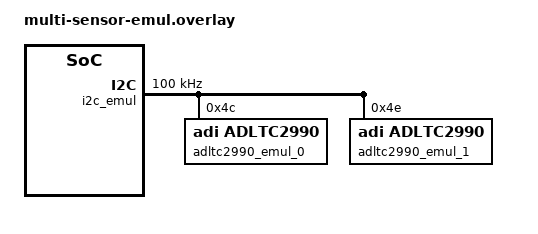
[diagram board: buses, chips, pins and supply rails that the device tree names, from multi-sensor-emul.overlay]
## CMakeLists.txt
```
# Copyright (c) 2025 Analog Devices, Inc.
# SPDX-License-Identifier: MIT

cmake_minimum_required(VERSION 3.20.0)

if(eval_ad4052_ardz IN_LIST SHIELD)
  list(APPEND EXTRA_DTC_OVERLAY_FILE eval_ad4052_ardz.overlay)
endif()

if(eval_adxl362_ardz IN_LIST SHIELD)
  list(APPEND EXTRA_DTC_OVERLAY_FILE eval_adxl362_ardz.overlay)
  list(APPEND EXTRA_CONF_FILE eval_adxl362_ardz.conf)
endif()

if(pmod_acl IN_LIST SHIELD)
  list(APPEND EXTRA_DTC_OVERLAY_FILE pmod_acl.overlay)
  list(APPEND EXTRA_CONF_FILE pmod_acl.conf)
endif()

if(CONFIG_LIBIIO_IIOD_ADC_EMUL)
  list(APPEND EXTRA_DTC_OVERLAY_FILE adc-emul.overlay)
  list(APPEND EXTRA_CONF_FILE adc-emul.conf)
endif()

if(CONFIG_LIBIIO_IIOD_SENSOR_EMUL)
  list(APPEND EXTRA_DTC_OVERLAY_FILE sensor-emul.overlay)
  list(APPEND EXTRA_CONF_FILE sensor-emul.conf)
endif()

if(CONFIG_LIBIIO_IIOD_MULTI_SENSOR_EMUL)
  list(APPEND EXTRA_DTC_OVERLAY_FILE multi-sensor-emul.overlay)
  list(APPEND EXTRA_CONF_FILE sensor-emul.conf)
endif()

if(CONFIG_LIBIIO_IIOD_SENSOR_ADXL345)
  list(APPEND EXTRA_DTC_OVERLAY_FILE adxl345.overlay)
  list(APPEND EXTRA_CONF_FILE adxl345.conf)
endif()

find_package(Zephyr REQUIRED HINTS $ENV{ZEPHYR_BASE})
project(iiod)

target_sources(app PRIVATE src/main.c)
```

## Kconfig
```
# Copyright (c) 2025 Analog Devices, Inc.
# SPDX-License-Identifier: MIT

menu "iiod sample"

config LIBIIO_IIOD_ADC_EMUL
	bool "Enable ADC emulator"
	help
	  Enable ADC emulator IIO device driver.

config LIBIIO_IIOD_SENSOR_EMUL
	bool "Enable sensor emulator"
	help
	  Enable sensor emulator IIO device driver.

config LIBIIO_IIOD_MULTI_SENSOR_EMUL
	bool "Enable multi-sensor emulator (two ADLTC2990 instances)"
	help
	  Enable two emulated ADLTC2990 sensor instances. Demonstrates that
	  the reg property and @N unit-address are required when multiple
	  nodes share the same compatible and name within an iio-sensors bus.

config LIBIIO_IIOD_SENSOR_ADXL345
	bool "Enable adxl345 sensor"
	help
	  Enable adxl345 sensor IIO device driver.

endmenu

source "Kconfig.zephyr"
```

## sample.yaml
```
# Copyright (c) 2026 Analog Devices, Inc.
# SPDX-License-Identifier: MIT

sample:
  description: iiod server sample
  name: iiod
common:
  tags: iiod
  harness: console
  harness_config:
    type: one_line
    regex:
      - "Booting Zephyr OS"
  extra_args:
    - platform:max32666fthr/max32666/cpu0:SNIPPET="iiod-usb"
    - platform:nucleo_h723zg/stm32h723xx:SNIPPET="iiod-network"
    - platform:cygnet/stm32l433xx:SNIPPET="iiod-usb"
    - platform:apard32690@D/max32690/m4:SNIPPET="iiod-usb"
    - platform:nrf52840dk/nrf52840:SNIPPET="iiod-usb"
    - platform:apard32690@E/max32690/m4:SNIPPET="iiod-usb"
    - platform:frdm_mcxn236/mcxn236:SNIPPET="iiod-usb"
    - platform:adafruit_metro_rp2040/rp2040:SNIPPET="iiod-usb"
    - platform:adafruit_qt_py_rp2040/rp2040:SNIPPET="iiod-cdc-acm"

tests:
  sample.iiod.emul.usb:
    depends_on:
      - usbd
    extra_args:
      - SNIPPET=iiod-usb
    extra_configs:
      - CONFIG_LIBIIO_IIOD_ADC_EMUL=y
      - CONFIG_LIBIIO_IIOD_SENSOR_EMUL=y

  sample.iiod.emul.cdc-acm:
    depends_on:
      - usbd
    extra_args:
      - SNIPPET=iiod-cdc-acm
    extra_configs:
      - CONFIG_LIBIIO_IIOD_ADC_EMUL=y
      - CONFIG_LIBIIO_IIOD_SENSOR_EMUL=y

  sample.iiod.emul.console:
    depends_on:
      - serial
    extra_args:
      - SNIPPET=iiod-console
    extra_configs:
      - CONFIG_LIBIIO_IIOD_ADC_EMUL=y
      - CONFIG_LIBIIO_IIOD_SENSOR_EMUL=y
    platform_allow:
      - apard32690/max32690/m4

  sample.iiod.multi-sensor-emul.console:
    depends_on:
      - serial
    extra_args:
      - SNIPPET=iiod-console
    extra_configs:
      - CONFIG_LIBIIO_IIOD_MULTI_SENSOR_EMUL=y
    platform_allow:
      - apard32690/max32690/m4

  sample.iiod.adc_max32.console:
    extra_args:
      - SNIPPET=iiod-console
      - EXTRA_DTC_OVERLAY_FILE=adc-max32.overlay
    platform_allow:
      - apard32690/max32690/m4
    integration_platforms:
      - apard32690/max32690/m4

  sample.iiod.lsmspg:
    depends_on:
      - feather_spi
      - feather_i2c
    integration_platforms:
      - max32666fthr/max32666/cpu0
      - max32655fthr/max32655/m4
      - cygnet
    extra_configs:
      - CONFIG_SENSOR=y
      - CONFIG_ADC=y
      - CONFIG_DAC=y
    extra_args:
      - SHIELD="adi_lsmspg;iio_adi_lsmspg"

  sample.iiod.pmod_acl:
    depends_on:
      - pmod_spi
    integration_platforms:
      - apard32690/max32690/m4
    extra_configs:
      - CONFIG_SENSOR=y
    extra_args:
      - SHIELD="pmod_acl;iio_pmod_acl"

  sample.iiod.eval_adxl362_ardz:
    depends_on:
      - arduino_spi
      - arduino_gpio
    integration_platforms:
      - nucleo_h723zg/stm32h723xx
      - apard32690/max32690/m4
      - nrf52840dk/nrf52840
      - frdm_mcxn236/mcxn236
    extra_configs:
      - CONFIG_SENSOR=y
    extra_args:
      - SHIELD="eval_adxl362_ardz;iio_eval_adxl362_ardz"

  sample.iiod.eval_ad4052_ardz:
    depends_on:
      - arduino_spi
      - arduino_gpio
    integration_platforms:
      - apard32690/max32690/m4
    extra_configs:
      - CONFIG_SENSOR=y
    extra_args:
      - SHIELD="eval_ad4052_ardz;iio_eval_ad4052_ardz"

  sample.iiod.x_nucleo_iks4a1:
    depends_on:
      - arduino_spi
      - arduino_i2c
      - arduino_gpio
    integration_platforms:
      - nucleo_h723zg/stm32h723xx
      - apard32690/max32690/m4
      - nrf52840dk/nrf52840
    extra_configs:
      - CONFIG_SENSOR=y
    extra_args:
      - SHIELD="x_nucleo_iks4a1;iio_x_nucleo_iks4a1"

  sample.iiod.adafruit_ism330dhcx:
    platform_allow:
      - adafruit_metro_rp2040/rp2040
      - adafruit_qt_py_rp2040/rp2040
    integration_platforms:
      - adafruit_metro_rp2040/rp2040
      - adafruit_qt_py_rp2040/rp2040
    extra_configs:
      - CONFIG_SENSOR=y
    extra_args:
      - SHIELD="adafruit_ism330dhcx;iio_adafruit_ism330dhcx"

  sample.iiod.adafruit_aht20:
    platform_allow:
      - adafruit_metro_rp2040/rp2040
      - adafruit_qt_py_rp2040/rp2040
    integration_platforms:
      - adafruit_metro_rp2040/rp2040
      - adafruit_qt_py_rp2040/rp2040
    extra_configs:
      - CONFIG_SENSOR=y
    extra_args:
      - SHIELD="adafruit_aht20;iio_adafruit_aht20"

  sample.iiod.adafruit_veml7700:
    platform_allow:
      - adafruit_metro_rp2040/rp2040
      - adafruit_qt_py_rp2040/rp2040
    integration_platforms:
      - adafruit_metro_rp2040/rp2040
      - adafruit_qt_py_rp2040/rp2040
    extra_configs:
      - CONFIG_SENSOR=y
    extra_args:
      - SHIELD="adafruit_veml7700;iio_adafruit_veml7700"

  sample.iiod.adafruit_lis3dh:
    platform_allow:
      - adafruit_metro_rp2040/rp2040
      - adafruit_qt_py_rp2040/rp2040
    integration_platforms:
      - adafruit_metro_rp2040/rp2040
      - adafruit_qt_py_rp2040/rp2040
    extra_configs:
      - CONFIG_SENSOR=y
    extra_args:
      - SHIELD="adafruit_lis3dh;iio_adafruit_lis3dh"

  sample.iiod.adafruit_daisy_chain:
    platform_allow:
      - adafruit_metro_rp2040/rp2040
      - adafruit_qt_py_rp2040/rp2040
    integration_platforms:
      - adafruit_metro_rp2040/rp2040
      - adafruit_qt_py_rp2040/rp2040
    extra_configs:
      - CONFIG_SENSOR=y
    extra_args:
      - SHIELD="adafruit_lis3dh;iio_adafruit_lis3dh;adafruit_aht20;iio_adafruit_aht20;adafruit_veml7700;iio_adafruit_veml7700;adafruit_ism330dhcx;iio_adafruit_ism330dhcx"

  sample.iiod.alif_shuttle_click:
    platform_allow:
      - ensemble_e8_dk/ae822fa0e5597ls0/rtss_he/sram
    integration_platforms:
      - ensemble_e8_dk/ae822fa0e5597ls0/rtss_he/sram
    extra_configs:
      - CONFIG_ADC=y
      - CONFIG_DAC=y
      - CONFIG_SENSOR=y
      - CONFIG_TEST_RANDOM_GENERATOR=y
      - CONFIG_LOG=y
    extra_args:
      - SNIPPET=iiod-network
      - SHIELD="mikroe_accel_click;iio_mikroe_accel_click;mikroe_adac_click;iio_mikroe_adac_click;mikroe_surface_temp_2_click;iio_mikroe_surface_temp_2_click"
```

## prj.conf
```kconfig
# Copyright (c) 2025 Analog Devices, Inc.
# SPDX-License-Identifier: MIT

CONFIG_ADC=y

CONFIG_CBPRINTF_FP_SUPPORT=y
CONFIG_LIBIIO_IIO_DEVICE_FP=y
CONFIG_LIBIIO_IIO_DEVICE_IO_CHANNELS_INIT_PRIORITY=90
```

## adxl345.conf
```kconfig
# Copyright (c) 2026 Analog Devices, Inc.
# SPDX-License-Identifier: MIT

CONFIG_ADC=y
CONFIG_I2C=y
CONFIG_SENSOR=y
CONFIG_ADXL345=y
```

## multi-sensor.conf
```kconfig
# Copyright (c) 2026 Analog Devices, Inc.
# SPDX-License-Identifier: MIT
#
# Multi-sensor: ADXL345 (real HW) + ADLTC2990 (emulated)

CONFIG_SENSOR=y
CONFIG_I2C=y

CONFIG_ADXL345=y
CONFIG_ADC=y

CONFIG_CBPRINTF_FP_SUPPORT=y

CONFIG_EMUL=y
CONFIG_EMUL_ADLTC2990=y
CONFIG_I2C_EMUL=y
```

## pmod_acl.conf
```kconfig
# Copyright (c) 2026 Analog Devices, Inc.
# SPDX-License-Identifier: MIT

CONFIG_SENSOR=y
```

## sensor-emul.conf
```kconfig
# Copyright (c) 2025 Analog Devices, Inc.
# SPDX-License-Identifier: MIT

CONFIG_EMUL=y
CONFIG_SENSOR=y
CONFIG_EMUL_ADLTC2990=y
CONFIG_I2C=y
CONFIG_I2C_EMUL=y
```

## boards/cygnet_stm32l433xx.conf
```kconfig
CONFIG_STM32_ENABLE_DEBUG_SLEEP_STOP=y
CONFIG_DEBUG=y
CONFIG_DEBUG_THREAD_INFO=y

CONFIG_LIBIIO_THREAD_POOL_SIZE=2
CONFIG_LIBIIO_THREAD_STACK_SIZE=3200
CONFIG_LIBIIO_IIOD_USB_THREAD_STACK_SIZE=3000
CONFIG_LIBIIO_IIOD_USB_PIPE_THREAD_STACK_SIZE=3000
```

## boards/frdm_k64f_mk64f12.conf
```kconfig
# Copyright (c) 2026 Analog Devices, Inc.
# SPDX-License-Identifier: MIT

CONFIG_SENSOR=y
CONFIG_FXOS8700_TEMP=y
```

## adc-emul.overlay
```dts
/*
 * Copyright (c) 2025 Analog Devices, Inc.
 *
 * SPDX-License-Identifier: MIT
 */

/ {
	iio-context {
		iio-adcs {
			#address-cells = <1>;
			#size-cells = <0>;

			adc-emul@0 {
				compatible = "iio,io-channels";
				reg = <0>;
				io-channels = <&adc_emul 0>, <&adc_emul 1>;
				io-channel-names = "voltage0", "voltage1";
				io-name = "adc-emul";
			};
		};
	};

	generator {
		compatible = "iio,adc-emul-generator";
		io-channels = <&adc_emul 0>, <&adc_emul 1>;
	};

	adc_emul: adc {
		compatible = "zephyr,adc-emul";
		nchannels = <2>;
		ref-internal-mv = <3300>;
		ref-external1-mv = <5000>;
		#io-channel-cells = <1>;
		#address-cells = <1>;
		#size-cells = <0>;

		channel@0 {
			reg = <0>;
			zephyr,gain = "ADC_GAIN_1";
			zephyr,reference = "ADC_REF_INTERNAL";
			zephyr,acquisition-time = <ADC_ACQ_TIME_DEFAULT>;
			zephyr,resolution = <10>;
		};

		channel@1 {
			reg = <1>;
			zephyr,gain = "ADC_GAIN_1";
			zephyr,reference = "ADC_REF_INTERNAL";
			zephyr,acquisition-time = <ADC_ACQ_TIME_DEFAULT>;
			zephyr,resolution = <10>;
		};
	};
};
```

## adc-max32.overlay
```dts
/*
 * Copyright (c) 2025 Analog Devices, Inc.
 *
 * SPDX-License-Identifier: MIT
 */

/ {
	iio-context {
		iio-adcs {
			max32-adc {
				compatible = "iio,io-channels";
				io-channels = <&adc 0>;
				io-channel-names = "adc_in_ch0";
				io-name = "max32-adc";
			};
		};
	};
};

&adc_clk_ext_p0_9 {
	power-source = <MAX32_VSEL_VDDIOH>;
};

&adc {
	/*clocks = */
	pinctrl-0 = <&adc_clk_ext_p0_9>;
	pinctrl-names = "default";

	#address-cells = <1>;
	#size-cells = <0>;
	#io-channel-cells = <1>;
	status = "okay";

	channel@0 {
		reg = <0>;
		zephyr,gain = "ADC_GAIN_1";
		zephyr,reference = "ADC_REF_INTERNAL";
		zephyr,acquisition-time = <ADC_ACQ_TIME_DEFAULT>;
		zephyr,resolution = <12>;
		zephyr,vref-mv = <1250>;
	};
};
```

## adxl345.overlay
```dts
/*
 * Copyright (c) 2025 Analog Devices, Inc.
 *
 * SPDX-License-Identifier: MIT
 */

#include <zephyr/dt-bindings/i2c/i2c.h>
#include <zephyr/dt-bindings/sensor/adxl345.h>
#include <dt-bindings/iio/sensor-channels.h>

/* I2C1 Pin Configuration for ADXL345 */
&i2c1a_scl_p2_18 {
	drive-strength = <2>;
	bias-pull-up;
};

&i2c1a_sda_p2_17 {
	drive-strength = <2>;
	bias-pull-up;
};

/* I2C1 Bus Configuration */
&i2c1 {
	pinctrl-0 = <&i2c1a_scl_p2_18 &i2c1a_sda_p2_17>;
	pinctrl-names = "default";
	status = "okay";
	clock-frequency = <I2C_BITRATE_FAST>;

	/* ADXL345 3-axis Accelerometer */
	adxl345: adxl345@1d {
		reg = <0x1d>;
		compatible = "adi,adxl345";
		int2-gpios = <&gpio2 6 (GPIO_PULL_DOWN | GPIO_ACTIVE_HIGH)>;
		range = <2>;
		odr = <12>;
		status = "okay";
	};
};

/ {
	/* IIO Context for libiio */
	iio-context {
		iio-sensors {
			/* ADXL345 3-axis Accelerometer */
			adxl345 {
				compatible = "iio,sensor";
				sensor-device = <&adxl345>;
				sensor-channels = <
					IIO_SENSOR_CHAN_ACCEL_X
					IIO_SENSOR_CHAN_ACCEL_Y
					IIO_SENSOR_CHAN_ACCEL_Z
				>;
				buffer-name = "buffer0";
				io-name = "adxl345";
			};
		};
	};
};
```

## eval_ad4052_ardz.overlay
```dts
/*
 * Copyright (c) 2025 Analog Devices, Inc.
 *
 * SPDX-License-Identifier: MIT
 */

/ {
	iio-context {
		iio-adcs {
			ad4052 {
				compatible = "iio,io-channels";
				io-channels = <&adc4052_eval_ad4052_ardz 0>;
				io-channel-names = "adc_in_ch0";
				io-name = "ad4052";
			};
		};
	};
};
```

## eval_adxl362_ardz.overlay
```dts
/*
 * Copyright (c) 2026 Analog Devices, Inc.
 *
 * SPDX-License-Identifier: MIT
 */

#include <dt-bindings/iio/sensor-channels.h>

/ {
	iio-context {
		adxl362_eval_adxl362_ardz {
			compatible = "iio,sensor";
			sensor-device = <&adxl362_eval_adxl362_ardz>;
			sensor-channels = <IIO_SENSOR_CHAN_ACCEL_X
					   IIO_SENSOR_CHAN_ACCEL_Y
					   IIO_SENSOR_CHAN_ACCEL_Z>;
			buffer-name = "buffer0";
			io-name = "adxl362";
		};
	};
};
```

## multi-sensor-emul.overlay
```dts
/*
 * Copyright (c) 2026 Analog Devices, Inc.
 *
 * SPDX-License-Identifier: MIT
 */

#include <zephyr/dt-bindings/i2c/i2c.h>
#include <dt-bindings/iio/sensor-channels.h>

/ {
	iio-context {
		iio-sensors {
			/* First ADLTC2990 instance — I2C address 0x4c */
			ltc2990_0 {
				compatible = "iio,sensor";
				sensor-device = <&adltc2990_emul_0>;
				sensor-channels = <
					IIO_SENSOR_CHAN_VOLTAGE
					IIO_SENSOR_CHAN_VOLTAGE
					IIO_SENSOR_CHAN_VOLTAGE
					IIO_SENSOR_CHAN_VOLTAGE
					IIO_SENSOR_CHAN_CURRENT
					IIO_SENSOR_CHAN_DIE_TEMP
					IIO_SENSOR_CHAN_AMBIENT_TEMP
				>;
				buffer-name = "buffer0";
				io-name = "ltc2990-0";
			};

			/* Second ADLTC2990 instance — I2C address 0x4e */
			ltc2990_1 {
				compatible = "iio,sensor";
				sensor-device = <&adltc2990_emul_1>;
				sensor-channels = <
					IIO_SENSOR_CHAN_VOLTAGE
					IIO_SENSOR_CHAN_VOLTAGE
					IIO_SENSOR_CHAN_VOLTAGE
					IIO_SENSOR_CHAN_VOLTAGE
					IIO_SENSOR_CHAN_CURRENT
					IIO_SENSOR_CHAN_DIE_TEMP
					IIO_SENSOR_CHAN_AMBIENT_TEMP
				>;
				buffer-name = "buffer1";
				io-name = "ltc2990-1";
			};
		};
	};

	/* Emulated I2C bus hosting both ADLTC2990 instances */
	i2c_emul: i2c@100 {
		compatible = "zephyr,i2c-emul-controller";
		reg = <0x100 4>;
		clock-frequency = <I2C_BITRATE_STANDARD>;
		#address-cells = <1>;
		#size-cells = <0>;
		status = "okay";

		adltc2990_emul_0: adltc2990@4c {
			compatible = "adi,adltc2990";
			reg = <0x4c>;
			status = "okay";
			measurement-mode = <0 0>;
			pins-v1-v2-current-resistor = <0>;
			pins-v3-v4-current-resistor = <0>;
			pin-v1-voltage-divider-resistors = <500 1000>;
			pin-v2-voltage-divider-resistors = <110000 100000>;
			pin-v3-voltage-divider-resistors = <7000 1000>;
			pin-v4-voltage-divider-resistors = <500 1000>;
		};

		adltc2990_emul_1: adltc2990@4e {
			compatible = "adi,adltc2990";
			reg = <0x4e>;
			status = "okay";
			measurement-mode = <0 0>;
			pins-v1-v2-current-resistor = <0>;
			pins-v3-v4-current-resistor = <0>;
			pin-v1-voltage-divider-resistors = <500 1000>;
			pin-v2-voltage-divider-resistors = <110000 100000>;
			pin-v3-voltage-divider-resistors = <7000 1000>;
			pin-v4-voltage-divider-resistors = <500 1000>;
		};
	};
};
```

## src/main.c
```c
/*
 * Copyright (c) 2025 Analog Devices, Inc.
 *
 * SPDX-License-Identifier: MIT
 */

#include <stdio.h>

int main(void)
{
	return 0;
}
```
